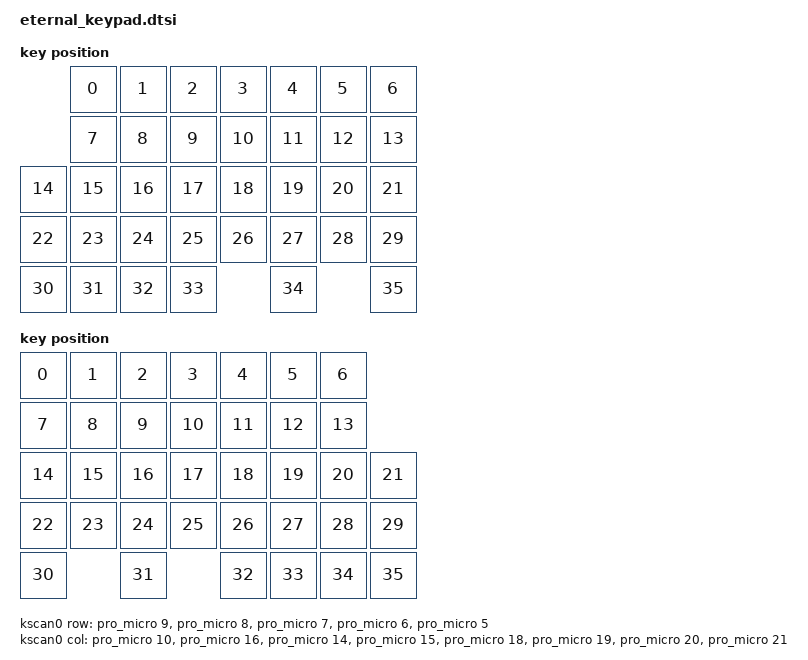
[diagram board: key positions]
#include <physical_layouts.dtsi>

/ {
    physical_layout0: physical_layout_0 {
        compatible = "zmk,physical-layout";
        display-name = "Default Layout";

        kscan = <&kscan0>;
        transform = <&default_transform>;

        keys  //                     w   h    x    y     rot    rx    ry
            = <&key_physical_attrs 100 100  100    0       0     0     0>
            , <&key_physical_attrs 100 100  200    0       0     0     0>
            , <&key_physical_attrs 100 100  300    0       0     0     0>
            , <&key_physical_attrs 100 100  400    0       0     0     0>
            , <&key_physical_attrs 100 100  500    0       0     0     0>
            , <&key_physical_attrs 100 100  600    0       0     0     0>
            , <&key_physical_attrs 100 100  700    0       0     0     0>
            , <&key_physical_attrs 100 100  100  100       0     0     0>
            , <&key_physical_attrs 100 100  200  100       0     0     0>
            , <&key_physical_attrs 100 100  300  100       0     0     0>
            , <&key_physical_attrs 100 100  400  100       0     0     0>
            , <&key_physical_attrs 100 100  500  100       0     0     0>
            , <&key_physical_attrs 100 100  600  100       0     0     0>
            , <&key_physical_attrs 100 100  700  100       0     0     0>
            , <&key_physical_attrs 100 100    0  200       0     0     0>
            , <&key_physical_attrs 100 100  100  200       0     0     0>
            , <&key_physical_attrs 100 100  200  200       0     0     0>
            , <&key_physical_attrs 100 100  300  200       0     0     0>
            , <&key_physical_attrs 100 100  400  200       0     0     0>
            , <&key_physical_attrs 100 100  500  200       0     0     0>
            , <&key_physical_attrs 100 100  600  200       0     0     0>
            , <&key_physical_attrs 100 100  700  200       0     0     0>
            , <&key_physical_attrs 100 100    0  300       0     0     0>
            , <&key_physical_attrs 100 100  100  300       0     0     0>
            , <&key_physical_attrs 100 100  200  300       0     0     0>
            , <&key_physical_attrs 100 100  300  300       0     0     0>
            , <&key_physical_attrs 100 100  400  300       0     0     0>
            , <&key_physical_attrs 100 100  500  300       0     0     0>
            , <&key_physical_attrs 100 100  600  300       0     0     0>
            , <&key_physical_attrs 100 100  700  300       0     0     0>
            , <&key_physical_attrs 100 100    0  400       0     0     0>
            , <&key_physical_attrs 100 100  100  400       0     0     0>
            , <&key_physical_attrs 100 100  200  400       0     0     0>
            , <&key_physical_attrs 100 100  300  400       0     0     0>
            , <&key_physical_attrs 100 100  500  400       0     0     0>
            , <&key_physical_attrs 100 100  700  400       0     0     0>
            ;
    };

    physical_layout1: physical_layout_1 {
        compatible = "zmk,physical-layout";
        display-name = "Lefty Layout";

        kscan = <&kscan0>;
        transform = <&lefty_transform>;

        keys  //                     w   h    x    y     rot    rx    ry
            = <&key_physical_attrs 100 100    0    0       0     0     0>
            , <&key_physical_attrs 100 100  100    0       0     0     0>
            , <&key_physical_attrs 100 100  200    0       0     0     0>
            , <&key_physical_attrs 100 100  300    0       0     0     0>
            , <&key_physical_attrs 100 100  400    0       0     0     0>
            , <&key_physical_attrs 100 100  500    0       0     0     0>
            , <&key_physical_attrs 100 100  600    0       0     0     0>
            , <&key_physical_attrs 100 100    0  100       0     0     0>
            , <&key_physical_attrs 100 100  100  100       0     0     0>
            , <&key_physical_attrs 100 100  200  100       0     0     0>
            , <&key_physical_attrs 100 100  300  100       0     0     0>
            , <&key_physical_attrs 100 100  400  100       0     0     0>
            , <&key_physical_attrs 100 100  500  100       0     0     0>
            , <&key_physical_attrs 100 100  600  100       0     0     0>
            , <&key_physical_attrs 100 100    0  200       0     0     0>
            , <&key_physical_attrs 100 100  100  200       0     0     0>
            , <&key_physical_attrs 100 100  200  200       0     0     0>
            , <&key_physical_attrs 100 100  300  200       0     0     0>
            , <&key_physical_attrs 100 100  400  200       0     0     0>
            , <&key_physical_attrs 100 100  500  200       0     0     0>
            , <&key_physical_attrs 100 100  600  200       0     0     0>
            , <&key_physical_attrs 100 100  700  200       0     0     0>
            , <&key_physical_attrs 100 100    0  300       0     0     0>
            , <&key_physical_attrs 100 100  100  300       0     0     0>
            , <&key_physical_attrs 100 100  200  300       0     0     0>
            , <&key_physical_attrs 100 100  300  300       0     0     0>
            , <&key_physical_attrs 100 100  400  300       0     0     0>
            , <&key_physical_attrs 100 100  500  300       0     0     0>
            , <&key_physical_attrs 100 100  600  300       0     0     0>
            , <&key_physical_attrs 100 100  700  300       0     0     0>
            , <&key_physical_attrs 100 100    0  400       0     0     0>
            , <&key_physical_attrs 100 100  200  400       0     0     0>
            , <&key_physical_attrs 100 100  400  400       0     0     0>
            , <&key_physical_attrs 100 100  500  400       0     0     0>
            , <&key_physical_attrs 100 100  600  400       0     0     0>
            , <&key_physical_attrs 100 100  700  400       0     0     0>
            ;
    };

    kscan0: kscan {
      compatible = "zmk,kscan-gpio-matrix";
      label = "KSCAN";

      diode-direction = "col2row";

      row-gpios
        = <&pro_micro 9 (GPIO_ACTIVE_HIGH | GPIO_PULL_DOWN)>
        , <&pro_micro 8 (GPIO_ACTIVE_HIGH | GPIO_PULL_DOWN)>
        , <&pro_micro 7 (GPIO_ACTIVE_HIGH | GPIO_PULL_DOWN)>
        , <&pro_micro 6 (GPIO_ACTIVE_HIGH | GPIO_PULL_DOWN)>
        , <&pro_micro 5 (GPIO_ACTIVE_HIGH | GPIO_PULL_DOWN)>
        ;

      col-gpios
        = <&pro_micro 10 (GPIO_ACTIVE_HIGH | GPIO_PULL_DOWN)>
        , <&pro_micro 16 (GPIO_ACTIVE_HIGH | GPIO_PULL_DOWN)>
        , <&pro_micro 14 (GPIO_ACTIVE_HIGH | GPIO_PULL_DOWN)>
        , <&pro_micro 15 (GPIO_ACTIVE_HIGH | GPIO_PULL_DOWN)>
        , <&pro_micro 18 (GPIO_ACTIVE_HIGH | GPIO_PULL_DOWN)>
        , <&pro_micro 19 (GPIO_ACTIVE_HIGH | GPIO_PULL_DOWN)>
        , <&pro_micro 20 (GPIO_ACTIVE_HIGH | GPIO_PULL_DOWN)>
        , <&pro_micro 21 (GPIO_ACTIVE_HIGH | GPIO_PULL_DOWN)>
        ;
    };
};
